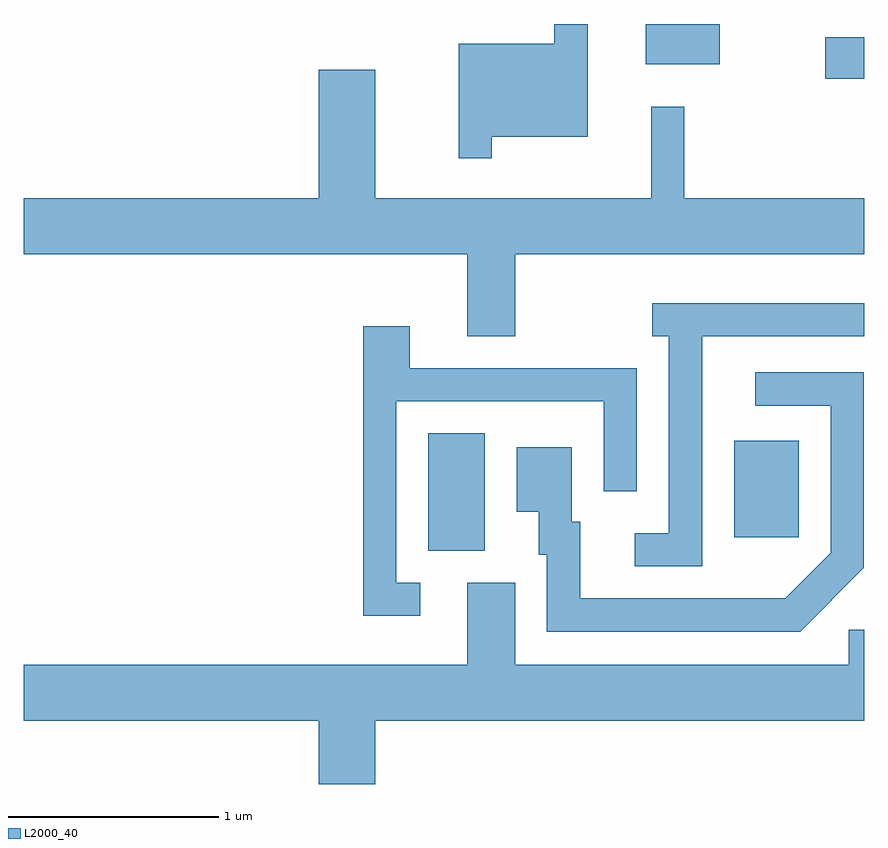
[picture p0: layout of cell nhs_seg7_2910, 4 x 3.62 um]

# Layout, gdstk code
import gdstk
lib = gdstk.Library(unit=1e-6, precision=1e-09)
def R(c, l, rs):  # rectangles x0, y0, x1, y1
    for r in rs: c.add(gdstk.rectangle(r[:2], r[2:], *l))
def P(c, l, *ps):  # polygons
    for p in ps: c.add(gdstk.Polygon(p, *l))
L2000_40 = (2000, 40)

nhs_seg7_2910 = lib.new_cell('nhs_seg7_2910')
R(nhs_seg7_2910, L2000_40, [(275.536,1761.746,275.804,1762.304), (276.991,1761.811,277.299,1762.269), (277.426,1763.991,277.611,1764.189), (276.571,1764.061,276.924,1764.252)])
P(nhs_seg7_2910, L2000_40, [(275.839,1763.716),(276.294,1763.716),(276.294,1764.252),(276.136,1764.252),(276.136,1764.159),(275.681,1764.159),(275.681,1763.613),(275.839,1763.613)],
  [(275.949,1763.156),(277.611,1763.156),(277.611,1763.424),(276.754,1763.424),(276.754,1763.858),(276.596,1763.858),(276.596,1763.424),(275.284,1763.424),(275.284,1764.034),(275.016,1764.034),(275.016,1763.424),(273.611,1763.424),(273.611,1763.156),(275.721,1763.156),(275.721,1762.766),(275.949,1762.766)],
  [(276.839,1762.766),(277.611,1762.766),(277.611,1762.924),(276.603,1762.924),(276.603,1762.766),(276.681,1762.766),(276.681,1761.829),(276.518,1761.829),(276.518,1761.671),(276.839,1761.671)],
  [(275.498,1761.594),(275.384,1761.594),(275.384,1762.456),(276.371,1762.456),(276.371,1762.028),(276.529,1762.028),(276.529,1762.614),(275.449,1762.614),(275.449,1762.814),(275.226,1762.814),(275.226,1761.436),(275.498,1761.436)],
  [(277.609,1761.664),(277.609,1762.594),(277.093,1762.594),(277.093,1762.436),(277.451,1762.436),(277.451,1761.737),(277.234,1761.519),(276.259,1761.519),(276.259,1761.884),(276.219,1761.884),(276.219,1762.239),(275.956,1762.239),(275.956,1761.931),(276.061,1761.931),(276.061,1761.726),(276.101,1761.726),(276.101,1761.361),(277.307,1761.361)],
  [(275.284,1760.936),(277.611,1760.936),(277.611,1761.369),(277.536,1761.369),(277.536,1761.204),(275.949,1761.204),(275.949,1761.594),(275.721,1761.594),(275.721,1761.204),(273.611,1761.204),(273.611,1760.936),(275.016,1760.936),(275.016,1760.636),(275.284,1760.636)])

lib.write_gds('nhs_seg7_2910.gds')
